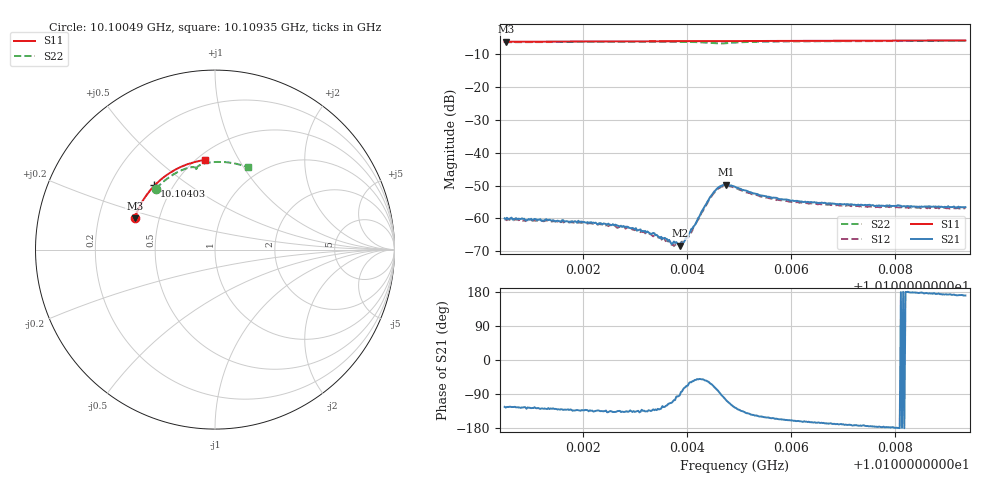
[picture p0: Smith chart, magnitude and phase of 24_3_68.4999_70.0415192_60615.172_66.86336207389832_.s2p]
#  HZ  S  RI  R  50.00
! Rohde & Schwarz Vector Network Analyzer
! Rohde-Schwarz,ZNB20-2Port,1311601062101988,3.16
! Created: UTC 3/20/2024, 5:04:48 PM
! freq[Hz]  re:S11  im:S11  re:S21  im:S21  re:S12  im:S12  re:S22  im:S22
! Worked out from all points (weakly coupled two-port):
!   401 points, 10.10049 GHz to 10.10935 GHz, reference 50 ohm
!   highest |S21| = -49.73 dB at 10.10474 GHz (marker M1); lowest = -68.2 dB at 10.10385 GHz (marker M2)
!   lowest |S11| = -6.4 dB at 10.10051 GHz (marker M3), VSWR 2.85, Z = 18.1 + j8.25 ohm
!   |S11| at or under -10 dB: nowhere
!   |S22| runs from -6.9 to -6.1 dB; largest |S21 - S12| = 0.00032
!   S11 on the Smith chart (normalised r, x): 10.10049 GHz: 0.36, +0.16; 10.10403 GHz: 0.40, +0.37; 10.10935 GHz: 0.55, +0.73
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1.0100486e10  -0.4474 0.1739  -0.000557 -0.000834  -0.000468 -0.000835  -0.3295 0.3389
1.0100508e10  -0.4468 0.1752  -0.000571 -0.000801  -0.00048 -0.000831  -0.3285 0.3398
1.0101971e10  -0.4112 0.2567  -0.000602 -0.000664  -0.00052 -0.00068  -0.2571 0.402
1.0102813e10  -0.3841 0.3  -0.000538 -0.000515  -0.000462 -0.000524  -0.2098 0.4309
1.0103367e10  -0.3638 0.3269  -0.000404 -0.00044  -0.00033 -0.000447  -0.176 0.4467
1.0103455e10  -0.3604 0.331  -0.00034 -0.000398  -0.000255 -0.00044  -0.1702 0.4489
1.0103544e10  -0.357 0.335  -0.000282 -0.000416  -0.000238 -0.000381  -0.1644 0.4511
1.010361e10  -0.3543 0.3382  -0.000241 -0.000422  -0.000219 -0.000413  -0.1599 0.4527
1.0103721e10  -0.3498 0.3433  -0.000141 -0.000396  -0.000101 -0.000393  -0.1523 0.4548
1.0103854e10  -0.3446 0.3493  -2.19e-05 -0.000387  3.28e-05 -0.000405  -0.1427 0.4573
1.0103899e10  -0.3426 0.3511  5.05e-05 -0.000425  8.4e-05 -0.000438  -0.1395 0.458
1.0103965e10  -0.3397 0.3541  0.000158 -0.00047  0.000208 -0.000434  -0.1344 0.4589
1.0104031e10  -0.3372 0.3572  0.00028 -0.000514  0.000304 -0.000444  -0.1293 0.4594
1.0104475e10  -0.3177 0.3757  0.00097 -0.00208  0.00112 -0.00192  -0.0978 0.4482
1.0104608e10  -0.3117 0.3809  0.000306 -0.00298  0.000553 -0.00283  -0.0988 0.4416
1.0104741e10  -0.3058 0.3863  -0.000836 -0.00315  -0.000551 -0.0031  -0.1038 0.4441
1.0104918e10  -0.2977 0.3932  -0.00177 -0.00246  -0.00149 -0.0025  -0.1018 0.4563
1.0105427e10  -0.2733 0.4122  -0.00192 -0.00114  -0.00175 -0.00123  -0.0688 0.4769
1.0105671e10  -0.2612 0.4207  -0.00187 -0.000888  -0.00168 -0.001  -0.052 0.4813
1.0106402e10  -0.2235 0.4439  -0.00169 -0.000466  -0.00158 -0.000605  -0.00297 0.4877
1.0107887e10  -0.1413 0.4797  -0.00158 -6.71e-05  -0.00147 -0.000216  0.0929 0.4831
1.0109349e10  -0.0552 0.4995  -0.00146 0.000253  -0.00144 9.76e-05  0.1835 0.4596
